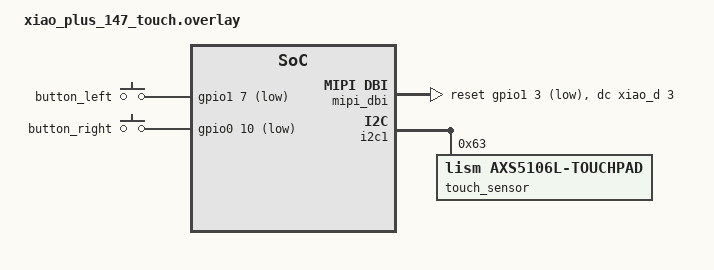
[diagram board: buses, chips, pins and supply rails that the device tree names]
/*
 * Seeed XIAO 1.47" touch display (nRF52840 Plus) on the LisM ZMK dongle.
 * Extends Prospector's shield, preserving the existing two-keyboard central.
 * The JD9853A panel uses the ST7789-compatible init path as documented by Seeed.
 */
#include <zephyr/dt-bindings/input/input-event-codes.h>

&spi3 {
    cs-gpios = <&xiao_d 2 GPIO_ACTIVE_LOW>; /* D2: LCD_CS */
};

&{/mipi_dbi} {
    dc-gpios = <&xiao_d 3 GPIO_ACTIVE_HIGH>; /* D3: LCD_DC */
    /* Seeed BSP 5948eafd: D17=38, g_ADigitalPinMap[38]=35 -> P1.03.
     * Resolve variant.h aliases through the array; its D17/D19 comments are
     * stale. D17 is LCD_RST, joined to CTP_RST by R9 on the expansion board. */
    reset-gpios = <&gpio1 3 GPIO_ACTIVE_LOW>;
};

&st7789 {
    mipi-max-frequency = <8000000>; /* Conservative first-hardware test. */
    width = <320>;
    height = <172>;
    x-offset = <0>;
    y-offset = <34>;
    mdac = <0x28>; /* MV | BGR, landscape */
    colmod = <0x55>;
    ram-param = [00 E0]; /* XIAO driver emits MSB-first pixels. */
    inversion-off;
};

&pwm1_default {
    group1 {
        psels = <NRF_PSEL(PWM_OUT0, 1, 5)>; /* D18: LCD_BL */
        /delete-property/ nordic,invert; /* Board NMOS backlight is active high. */
    };
};

&pwm1_sleep {
    group1 {
        psels = <NRF_PSEL(PWM_OUT0, 1, 5)>;
        low-power-enable;
    };
};

&apds9960 {
    status = "disabled"; /* D2 is LCD_CS on this display. */
};

&i2c1 {
    status = "okay";
    touch_sensor: touchpad@63 {
        compatible = "lism,axs5106l-touchpad";
        reg = <0x63>;
        status = "okay";
    };
};

/ {
    xiao_touch_left_button: xiao_touch_left_button {
        compatible = "gpio-keys";
        /* Sole USR1 input path. Keep existing 20ms polling; USR2's working
         * interrupt path is unchanged. Neither key owns LCD/CTP reset. */
        polling-mode;
        debounce-interval-ms = <20>;

        button_left {
            /* Corrected Seeed BSP: D19=36 -> array[36]=39 -> P1.07. */
            gpios = <&gpio1 7 (GPIO_ACTIVE_LOW | GPIO_PULL_UP)>; /* D19/USR1 */
            zephyr,code = <INPUT_BTN_0>;
        };

    };

    xiao_touch_menu_button: xiao_touch_menu_button {
        compatible = "gpio-keys";
        debounce-interval-ms = <15>;
        button_right {
            gpios = <&gpio0 10 (GPIO_ACTIVE_LOW | GPIO_PULL_UP)>; /* D15/USR2 */
            zephyr,code = <INPUT_BTN_1>;
        };
    };

    /* Touch owns a separate merge source; never write physical HID buttons. */

};
